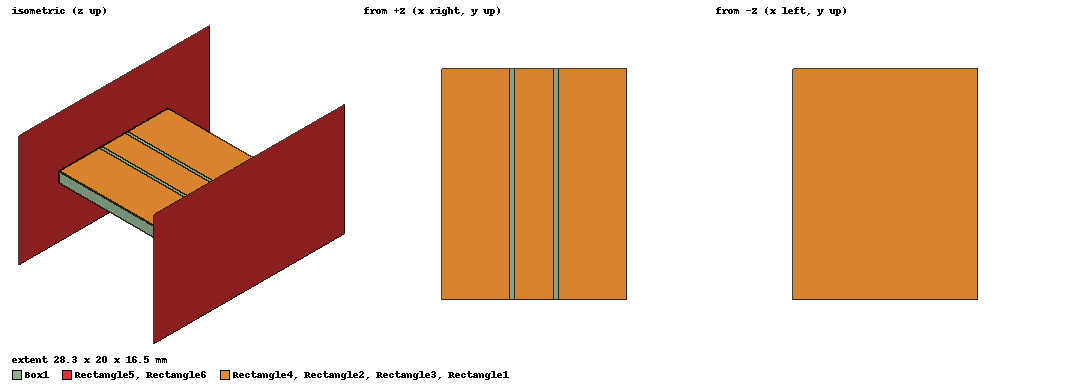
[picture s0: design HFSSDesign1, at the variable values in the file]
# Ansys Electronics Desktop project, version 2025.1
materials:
  vacuum: permittivity=1
  Rogers RO4350 (tm): permittivity=3.66 dielectric_loss_tangent=0.004

design HFSSDesign1 (HFSS, HFSS Terminal Network, model units mm)
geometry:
  Box1 [Rogers RO4350 (tm)] = box(corner=((-16/2) mm, 0mm, 0mm), size=(16mm, 20mm, 1.5mm))
  Rectangle1 = rectangle(corner=((-3.4/2) mm, 0mm, 1.5mm), x_size=3.4mm, y_size=20mm)
  Rectangle2 = rectangle(corner=(2.1mm, 0mm, 1.5mm), x_size=(8-2.1) mm, y_size=20mm)
  Rectangle3 = rectangle(corner=(-2.1mm, 0mm, 1.5mm), x_size=(-8+2.1) mm, y_size=20mm)
  Rectangle4 = rectangle(corner=(-8mm, 0mm, 0mm), x_size=16mm, y_size=20mm)
  Rectangle5 = rectangle(corner=(-14.2mm, 0mm, -7.5mm), z_size=(15+1.5) mm, x_size=28.2mm)
  Rectangle6 = rectangle(corner=((-28.2/2) mm, 20mm, -7.5mm), z_size=16.5mm, x_size=28.2mm)
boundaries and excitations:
  PerfE1: Perfect E Objects=Rectangle1
  PerfE2: Perfect E Objects=[Rectangle3, Rectangle2, Rectangle4]
  1: Wave Port Objects=Rectangle5 WavePortType=Modal NumModes=1 Modes{Mode1{CharImp=Zpi}}
  2: Wave Port Objects=Rectangle6 WavePortType=Modal NumModes=1 Modes{Mode1{CharImp=Zpi}}
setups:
  Setup1: HfssDriven MultipleAdaptiveFreqsSetup{Low=1GHz High=10GHz} MaxDeltaS=0.02 MaximumPasses=6 MinimumPasses=1 MinimumConvergedPasses=1 PercentRefinement=30 BasisOrder=1 PortAccuracy=2 DrivenSolverType="Direct Solver"
    sweep Sweep: 1GHz to 10GHz, 401 points; Type=Interpolating InterpTolerance=0.5 InterpMaxSolns=250 PassivityErrorTolerance=0.0001
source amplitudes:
  1:1: 1V 0deg
  2:1: 0V 0deg
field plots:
  Vector_E1: E Field over Rectangle3.face Rectangle1.face Rectangle2.face on Setup1 : LastAdaptive at Freq=5.5GHz Phase=0deg
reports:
  Terminal Port Zo Plot1: re(Zot(1,1)), re(Zot(2,1)), re(Zot(1,2)), re(Zot(2,2)) vs Freq on Setup1 : Sweep
  Terminal S Parameter Plot1: dB(St(1,1)), dB(St(2,1)), dB(St(1,2)), dB(St(2,2)) vs Freq on Setup1 : Sweep
